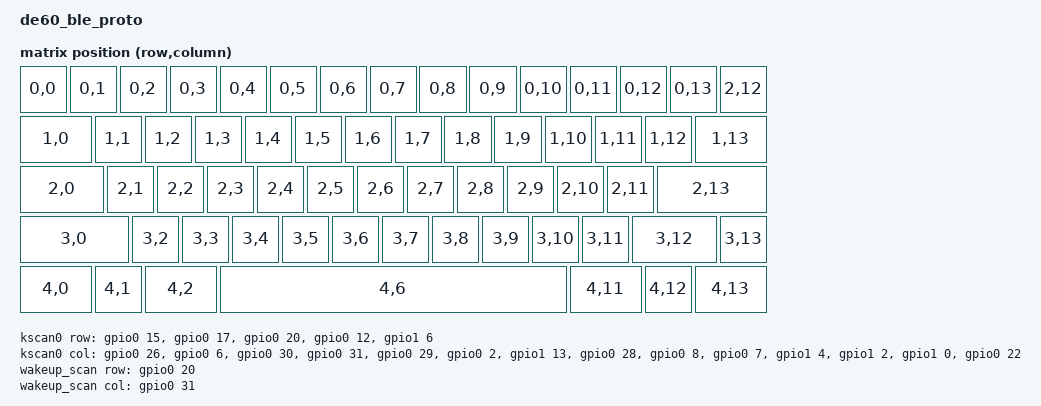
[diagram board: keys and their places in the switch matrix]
/dts-v1/;

/*
 * Copyright (c) 2026 DEKB
 * SPDX-License-Identifier: MIT
 */

#include <nordic/nrf52840_qiaa.dtsi>
#include <dt-bindings/zmk/matrix_transform.h>
#include <physical_layouts.dtsi>
#include <dt-bindings/led/led.h>
#include "de60_ble_proto-pinctrl.dtsi"

/ {
    model = "de60_ble_proto";
    compatible = "dekb,de60_ble_proto";

    chosen {
        zephyr,code-partition = &code_partition;
        zephyr,sram = &sram0;
        zephyr,flash = &flash0;
        zmk,underglow = &led_strip;
        zmk,battery = &vbatt;
        zmk,kscan = &kscan0;
        zmk,physical-layout = &layout0;
    };

    aliases {
        indicator-r = &led0;
        indicator-g = &led1;
        indicator-b = &led2;
    };

    leds {
        compatible = "gpio-leds";
        status = "okay";
        led0: led_0 { gpios = <&gpio0 5 GPIO_ACTIVE_LOW>; };
        led1: led_1 { gpios = <&gpio0 4 GPIO_ACTIVE_LOW>; };
        led2: led_2 { gpios = <&gpio1 9 GPIO_ACTIVE_LOW>; };
    };

    ext-power {
        compatible = "zmk,ext-power-generic";
        label = "EXT_POWER";
        control-gpios = <&gpio1 10 GPIO_ACTIVE_HIGH>;
    };

    vbatt: vbatt {
        compatible = "zmk,battery-voltage-divider";
        io-channels = <&adc 1>; // P0.03 (AIN1)
        output-ohms = <2000000>;
        full-ohms = <(1000000 + 2000000)>;
    };

    kscan0: kscan {
        compatible = "zmk,kscan-gpio-matrix";
        wakeup-source;
        diode-direction = "col2row";

        row-gpios = <&gpio0 15 (GPIO_ACTIVE_HIGH | GPIO_PULL_DOWN)>, // Row 0
                    <&gpio0 17 (GPIO_ACTIVE_HIGH | GPIO_PULL_DOWN)>, // Row 1
                    <&gpio0 20 (GPIO_ACTIVE_HIGH | GPIO_PULL_DOWN)>, // Row 2
                    <&gpio0 12 (GPIO_ACTIVE_HIGH | GPIO_PULL_DOWN)>, // Row 3
                    <&gpio1 6  (GPIO_ACTIVE_HIGH | GPIO_PULL_DOWN)>; // Row 4

        col-gpios = <&gpio0 26 GPIO_ACTIVE_HIGH>,   // Col 0
                    <&gpio0 6  GPIO_ACTIVE_HIGH>,   // Col 1
                    <&gpio0 30 GPIO_ACTIVE_HIGH>,   // Col 2
                    <&gpio0 31 GPIO_ACTIVE_HIGH>,   // Col 3
                    <&gpio0 29 GPIO_ACTIVE_HIGH>,   // Col 4
                    <&gpio0 2  GPIO_ACTIVE_HIGH>,   // Col 5
                    <&gpio1 13 GPIO_ACTIVE_HIGH>,   
                    <&gpio0 28 GPIO_ACTIVE_HIGH>,
                    <&gpio0 8  GPIO_ACTIVE_HIGH>,
                    <&gpio0 7  GPIO_ACTIVE_HIGH>,
                    <&gpio1 4  GPIO_ACTIVE_HIGH>,
                    <&gpio1 2  GPIO_ACTIVE_HIGH>,
                    <&gpio1 0  GPIO_ACTIVE_HIGH>,
                    <&gpio0 22 GPIO_ACTIVE_HIGH>;
    };

    wakeup_scan: wakeup_scan {
        compatible = "zmk,kscan-gpio-matrix";
        wakeup-source;
        diode-direction = "col2row";
        // KEY D at RC(2,3)
        row-gpios = <&gpio0 20 (GPIO_ACTIVE_HIGH | GPIO_PULL_DOWN)>; // row 2
        col-gpios = <&gpio0 31 GPIO_ACTIVE_HIGH>; // col 3
    };

    soft_off_wakers {
        compatible = "zmk,soft-off-wakeup-sources";
        wakeup-sources = <&wakeup_scan>;
    };

    matrix_transform_0: matrix_transform_0 {
        compatible = "zmk,matrix-transform";
        columns = <14>;
        rows = <5>;
        map = <
            RC(0,0) RC(0,1) RC(0,2) RC(0,3) RC(0,4) RC(0,5) RC(0,6) RC(0,7) RC(0,8) RC(0,9) RC(0,10) RC(0,11) RC(0,12) RC(0,13) RC(2,12)
            RC(1,0) RC(1,1) RC(1,2) RC(1,3) RC(1,4) RC(1,5) RC(1,6) RC(1,7) RC(1,8) RC(1,9) RC(1,10) RC(1,11) RC(1,12) RC(1,13)
            RC(2,0) RC(2,1) RC(2,2) RC(2,3) RC(2,4) RC(2,5) RC(2,6) RC(2,7) RC(2,8) RC(2,9) RC(2,10) RC(2,11)          RC(2,13)
            RC(3,0)         RC(3,2) RC(3,3) RC(3,4) RC(3,5) RC(3,6) RC(3,7) RC(3,8) RC(3,9) RC(3,10) RC(3,11) RC(3,12) RC(3,13)
            RC(4,0) RC(4,1) RC(4,2)                         RC(4,6)                                  RC(4,11) RC(4,12) RC(4,13)
        >;
    };

    layout0: layout0 {
        compatible = "zmk,physical-layout";
        display-name = "60 TSANGAN SPLIT BS RSHIFT";
        transform = <&matrix_transform_0>;

        keys = <&key_physical_attrs 100 100 0 0 0 0 0>,
               <&key_physical_attrs 100 100 100 0 0 0 0>,
               <&key_physical_attrs 100 100 200 0 0 0 0>,
               <&key_physical_attrs 100 100 300 0 0 0 0>,
               <&key_physical_attrs 100 100 400 0 0 0 0>,
               <&key_physical_attrs 100 100 500 0 0 0 0>,
               <&key_physical_attrs 100 100 600 0 0 0 0>,
               <&key_physical_attrs 100 100 700 0 0 0 0>,
               <&key_physical_attrs 100 100 800 0 0 0 0>,
               <&key_physical_attrs 100 100 900 0 0 0 0>,
               <&key_physical_attrs 100 100 1000 0 0 0 0>,
               <&key_physical_attrs 100 100 1100 0 0 0 0>,
               <&key_physical_attrs 100 100 1200 0 0 0 0>,
               <&key_physical_attrs 100 100 1300 0 0 0 0>,
               <&key_physical_attrs 100 100 1400 0 0 0 0>,
               <&key_physical_attrs 150 100 0 100 0 0 0>,
               <&key_physical_attrs 100 100 150 100 0 0 0>,
               <&key_physical_attrs 100 100 250 100 0 0 0>,
               <&key_physical_attrs 100 100 350 100 0 0 0>,
               <&key_physical_attrs 100 100 450 100 0 0 0>,
               <&key_physical_attrs 100 100 550 100 0 0 0>,
               <&key_physical_attrs 100 100 650 100 0 0 0>,
               <&key_physical_attrs 100 100 750 100 0 0 0>,
               <&key_physical_attrs 100 100 850 100 0 0 0>,
               <&key_physical_attrs 100 100 950 100 0 0 0>,
               <&key_physical_attrs 100 100 1050 100 0 0 0>,
               <&key_physical_attrs 100 100 1150 100 0 0 0>,
               <&key_physical_attrs 100 100 1250 100 0 0 0>,
               <&key_physical_attrs 150 100 1350 100 0 0 0>,
               <&key_physical_attrs 175 100 0 200 0 0 0>,
               <&key_physical_attrs 100 100 175 200 0 0 0>,
               <&key_physical_attrs 100 100 275 200 0 0 0>,
               <&key_physical_attrs 100 100 375 200 0 0 0>,
               <&key_physical_attrs 100 100 475 200 0 0 0>,
               <&key_physical_attrs 100 100 575 200 0 0 0>,
               <&key_physical_attrs 100 100 675 200 0 0 0>,
               <&key_physical_attrs 100 100 775 200 0 0 0>,
               <&key_physical_attrs 100 100 875 200 0 0 0>,
               <&key_physical_attrs 100 100 975 200 0 0 0>,
               <&key_physical_attrs 100 100 1075 200 0 0 0>,
               <&key_physical_attrs 100 100 1175 200 0 0 0>,
               <&key_physical_attrs 225 100 1275 200 0 0 0>,
               <&key_physical_attrs 225 100 0 300 0 0 0>,
               <&key_physical_attrs 100 100 225 300 0 0 0>,
               <&key_physical_attrs 100 100 325 300 0 0 0>,
               <&key_physical_attrs 100 100 425 300 0 0 0>,
               <&key_physical_attrs 100 100 525 300 0 0 0>,
               <&key_physical_attrs 100 100 625 300 0 0 0>,
               <&key_physical_attrs 100 100 725 300 0 0 0>,
               <&key_physical_attrs 100 100 825 300 0 0 0>,
               <&key_physical_attrs 100 100 925 300 0 0 0>,
               <&key_physical_attrs 100 100 1025 300 0 0 0>,
               <&key_physical_attrs 100 100 1125 300 0 0 0>,
               <&key_physical_attrs 175 100 1225 300 0 0 0>,
               <&key_physical_attrs 100 100 1400 300 0 0 0>,
               <&key_physical_attrs 150 100 0 400 0 0 0>,
               <&key_physical_attrs 100 100 150 400 0 0 0>,
               <&key_physical_attrs 150 100 250 400 0 0 0>,
               <&key_physical_attrs 700 100 400 400 0 0 0>,
               <&key_physical_attrs 150 100 1100 400 0 0 0>,
               <&key_physical_attrs 100 100 1250 400 0 0 0>,
               <&key_physical_attrs 150 100 1350 400 0 0 0>;
    };
};

&adc {
    status = "okay";
};

&gpiote {
    status = "okay";
};

&gpio0 {
    status = "okay";
};

&gpio1 {
    status = "okay";
};

zephyr_udc0: &usbd {
    status = "okay";
};

&spi3 {
    compatible = "nordic,nrf-spim";
    pinctrl-0 = <&spi3_default>;
    pinctrl-1 = <&spi3_sleep>;
    pinctrl-names = "default", "sleep";
    status = "okay";

    led_strip: ws2812@0 {
        compatible = "worldsemi,ws2812-spi";
        label = "WS2812";
        reg = <0>;
        spi-max-frequency = <4000000>;
        chain-length = <26>;
        spi-one-frame = <0x70>;
        spi-zero-frame = <0x40>;
        color-mapping = <LED_COLOR_ID_GREEN LED_COLOR_ID_RED LED_COLOR_ID_BLUE>;
    };
};

&flash0 {
    partitions {
        compatible = "fixed-partitions";
        #address-cells = <1>;
        #size-cells = <1>;

        sd_partition: partition@0 {
            reg = <0x00000000 0x00026000>;
        };

        code_partition: partition@26000 {
            reg = <0x00026000 0x000c6000>;
        };

        storage_partition: partition@ec000 {
            reg = <0x000ec000 0x00008000>;
        };

        boot_partition: partition@f4000 {
            reg = <0x000f4000 0x0000c000>;
        };
    };
};
